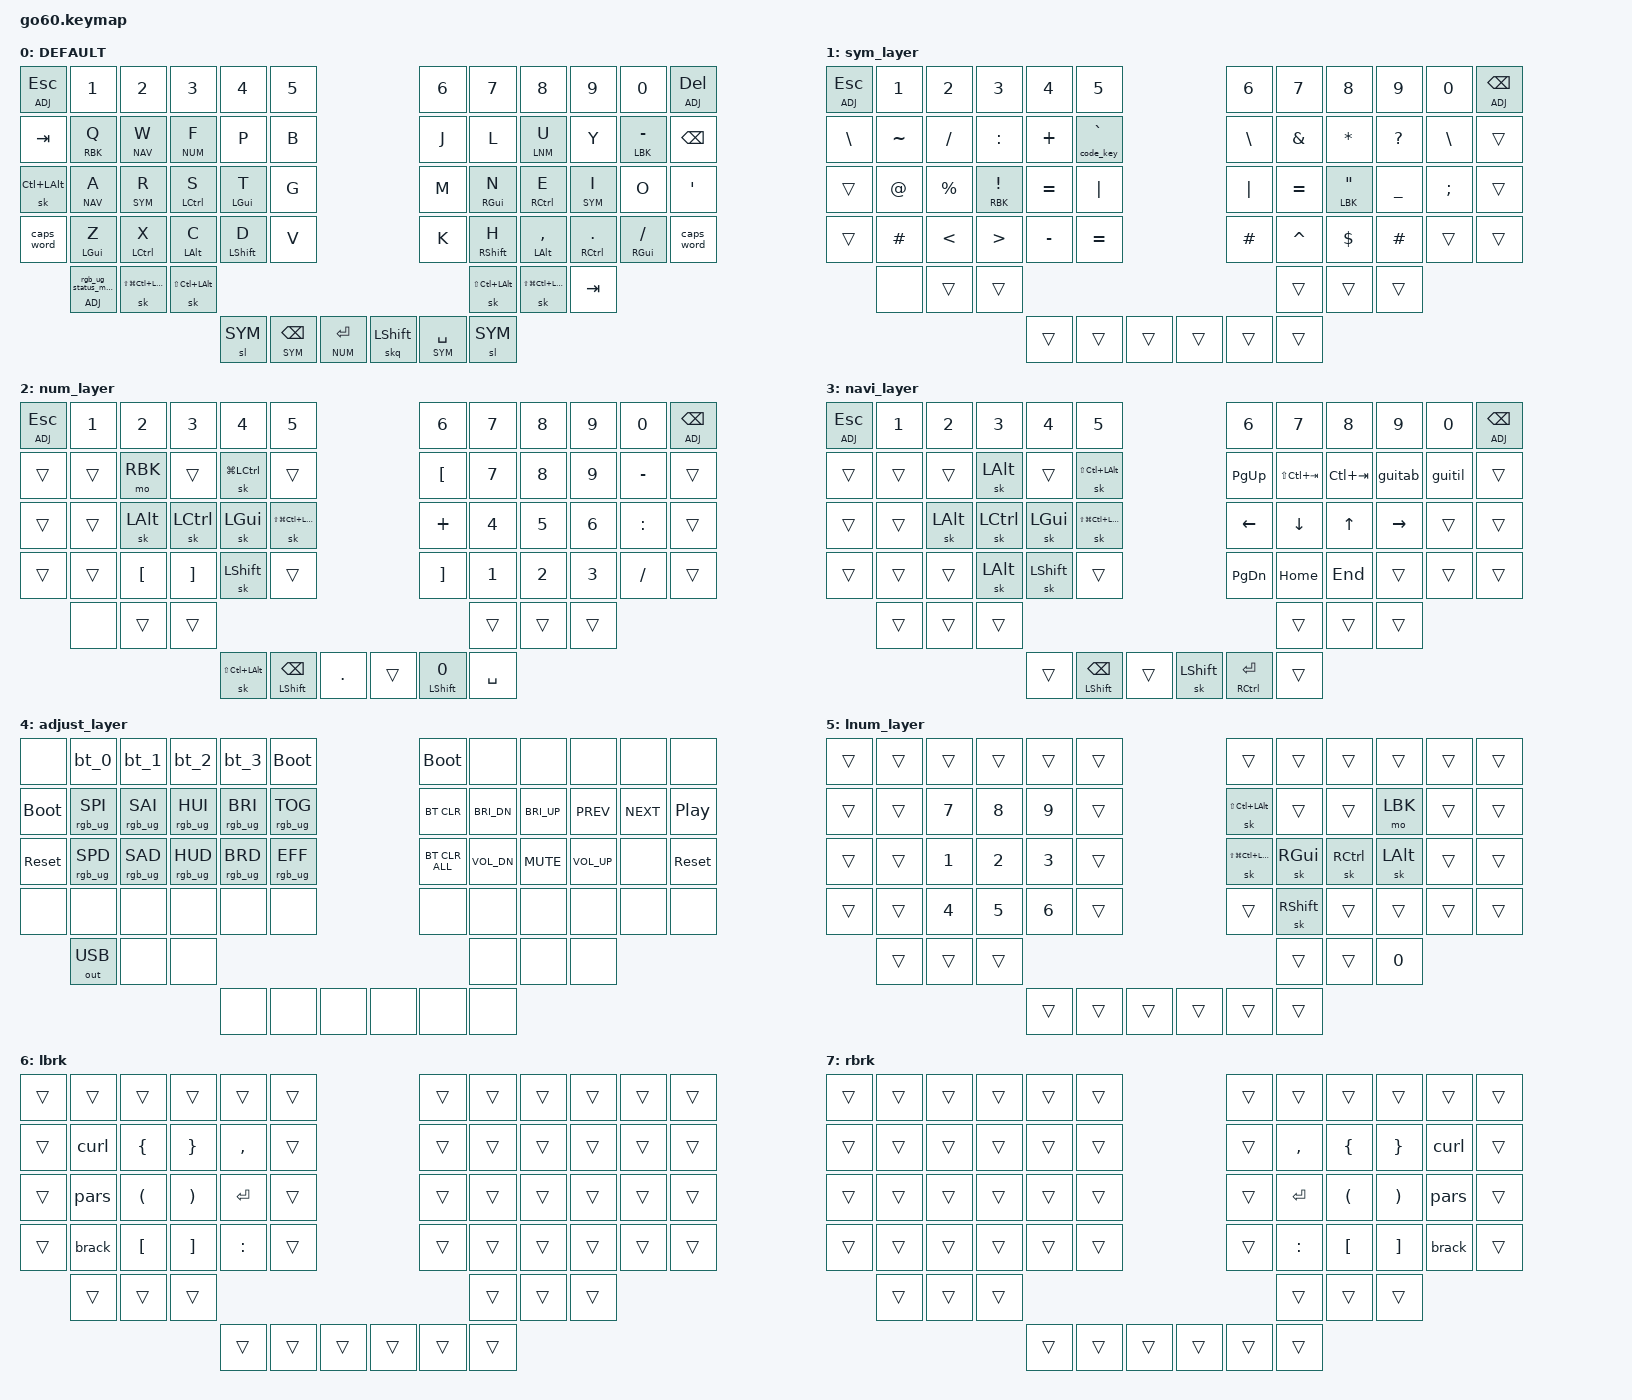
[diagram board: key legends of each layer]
/*
 * Copyright (c) 2020 The ZMK Contributors
 *
 * SPDX-License-Identifier: MIT
 */

#include <behaviors.dtsi>

#include <dt-bindings/zmk/bt.h>
#include <dt-bindings/zmk/ext_power.h>
#include <dt-bindings/zmk/keys.h>
#include <dt-bindings/zmk/outputs.h>
#include <dt-bindings/zmk/rgb.h>
#include <dt-bindings/zmk/input_transform.h>
#include <dt-bindings/zmk/pointing.h>

#include <input/processors.dtsi>
#include <zephyr/dt-bindings/input/input-event-codes.h>

// layers
#define DEFAULT 0
#define SYM 1
#define NUM 2
#define NAV 3
#define ADJ 4
#define LNM 5
#define LBK 6
#define RBK 7

&lt {
  tapping-term-ms = <175>;
  quick-tap-ms    = <150>; // hit within this time to trigger repeat
};

&sl {
  release-after-ms = <2000>;
};

&caps_word {
  continue-list = <UNDERSCORE MINUS>;
};
/ {
    input_processors {
        zip_click_to_right_click_mapper: zip_click_to_right_click_mapper {
            compatible = "zmk,input-processor-code-mapper";
            #input-processor-cells = <0>;
            type = <INPUT_EV_KEY>;
            map = <INPUT_BTN_0 INPUT_BTN_1>;
        };
    };

  combos {
    compatible = "zmk,combos";
    // -----------------------------------------------------------------------------------------
    // |  0  |  1  |  2  |  3  |  4  |  5  |                    |  6  |  7   |  8  |  9  |  10  | 11 |
    // |  12 |  Q  |  W  |  E  |  R  |  T  |                    |  18  |  U   |  I  |  O  |  P  | BKSP |
    // |  24 |  A  |  S  |  D  |  F  |  G  |                    |  30  |  J   |  K  |  L  |  ;  |  '   |
    // |  36 |  Z  |  X  |  C  |  V  |  B  |                    |  42  |  M   |  ,  |  .  |  /  | ESC  |
    //             48 | 49 | 50 | 51 | 52 | 53              54 | 55 | 56 | 57 | 58 | 59
    left_combo_esc {
      timeout-ms = <30>;
      key-positions = <26 27 28>;
      layers = <DEFAULT>;
      bindings = <&kp ESC>;
    };
    left_combo_lbrack {
      timeout-ms = <30>;
      key-positions = <26 27>;
      layers = <DEFAULT>;
      bindings = <&mo RBK>;
    };
    right_combo_esc {
      timeout-ms = <30>;
      key-positions = <31 32 33>;
      layers = <DEFAULT>;
      bindings = <&kp ESC>;
    };

    right_combo_rbracks {
      timeout-ms = <30>;
      key-positions = <32 33>;
      layers = <DEFAULT>;
      bindings = <&mo LBK>;
    };

    right_alt_bspc {
      timeout-ms = <30>;
      key-positions = <20 21>;
      layers = <DEFAULT>;
      bindings = <&kp LA(BSPC)>;
    };

    right_ctrl_bspc {
      timeout-ms = <30>;
      key-positions = <21 22>;
      layers = <DEFAULT>;
      bindings = <&kp LC(BSPC)>;
    };

    right_enter {
      timeout-ms = <20>;
      key-positions = <30 31>;
      layers = <DEFAULT>;
      bindings = <&kp RET>;
    };

    left_tab {
      timeout-ms = <30>;
      key-positions = <38 39>;
      layers = <DEFAULT>;
      bindings = <&mt LC(LALT) TAB>;
    };

    right_tab {
      timeout-ms = <30>;
      key-positions = <44 45>;
      layers = <DEFAULT>;
      bindings = <&mt LC(LALT) TAB>;
    };

    left_slash {
      timeout-ms = <35>;
      key-positions = <14 15>;
      layers = <DEFAULT>;
      bindings = <&kp FSLH>;
    };

    up_dir {
      timeout-ms = <40>;
      key-positions = <43 44 45>;
      layers = <DEFAULT>;
      bindings = <&updir>;
    };

    homedir {
      timeout-ms = <30>;
      layers = <SYM>;
      key-positions = <14 15>;
      bindings = <&homedir>;
    };
  };
    behaviors {
        magic: magic {
            compatible = "zmk,behavior-hold-tap";
            #binding-cells = <2>;
            flavor = "tap-preferred";
            tapping-term-ms = <200>;
            bindings = <&mo>, <&rgb_ug_status_macro>;
        };
       bt_0: bt_0 {
            compatible = "zmk,behavior-tap-dance";
            #binding-cells = <0>;
            tapping-term-ms = <200>;
            bindings = <&bt_select_0>, <&bt BT_DISC 0>;
        };
        bt_1: bt_1 {
            compatible = "zmk,behavior-tap-dance";
            #binding-cells = <0>;
            tapping-term-ms = <200>;
            bindings = <&bt_select_1>, <&bt BT_DISC 1>;
        };
        bt_2: bt_2 {
            compatible = "zmk,behavior-tap-dance";
            #binding-cells = <0>;
            tapping-term-ms = <200>;
            bindings = <&bt_select_2>, <&bt BT_DISC 2>;
        };
        bt_3: bt_3 {
            compatible = "zmk,behavior-tap-dance";
            #binding-cells = <0>;
            tapping-term-ms = <200>;
            bindings = <&bt_select_3>, <&bt BT_DISC 3>;
        };
        guitil: guitil {
            compatible = "zmk,behavior-tri-state";
            #binding-cells = <0>;
            bindings = <&kt LGUI>, <&kp TILDE>, <&kt LGUI>;
            ignored-key-positions = <54>;
        };
        guitab: guitab {
            compatible = "zmk,behavior-tri-state";
            #binding-cells = <0>;
            bindings = <&kt LGUI>, <&kp TAB>, <&kt LGUI>;
            ignored-key-positions = <54>;
        };
        code: codegrave {
            compatible = "zmk,behavior-hold-tap";
            #binding-cells = <2>;
            flavor = "tap-preferred";
            tapping-term-ms = <200>;
            bindings = <&code_key>, <&kp>;
        };
        hmlt: homerow_layer_left_tap {
            compatible = "zmk,behavior-hold-tap";
            #binding-cells = <2>;
            flavor = "balanced";
            require-prior-idle-ms = <110>;
            tapping-term-ms = <180>;
            quick-tap-ms = <150>;
            bindings = <&mo>, <&kp>;
            // include pretty much every key but the middle row
            hold-trigger-key-positions = <
              /*top row*/ 0 1 2 3 4 5 6 7 8 9 10 11
              /*2nd row*/ 12 13 14 15 16 17 18 19 20 21 22 23
              /* homerow 24 25 26 27 28 29 */ 30 31 32 33 34 35
              /*bottom*/ 36 37 38 39 40 41 42 43 44 45 46 47
              /* thumbs */ 48 49 50 51 52 53 54 55 /*56*/ 57 58 59
              /*thumbs except backspace   */ >;
            hold-trigger-on-release;
        };
        hml: homerow_mods_left {
            compatible = "zmk,behavior-hold-tap";
                #binding-cells = <2>;
                flavor = "balanced";
                require-prior-idle-ms = <100>;
                tapping-term-ms = <180>;
                quick-tap-ms = <150>;
                bindings = <&kp>, <&kp>;
                // include pretty much every key but the middle row
                hold-trigger-key-positions = <
                  /*top row*/ 0 1 2 3 4 5 6 7 8 9 10 11
                  /*2nd row*/ 12 13 14 15 16 17 18 19 20 21 22 23
                  /* homerow 24 25 26 27 28 29 */ 30 31 32 33 34 35
                  /*bottom*/ 36 37 38 39 40 41 42 43 44 45 46 47
                  /* thumbs */ 48 49 50 51 52 53 54 55  /*56*/ 57 58 59
                  /*thumbs except backspace   */ >;
                hold-trigger-on-release;
        };
        hmrt: homerow_mods_right_tap {
            compatible = "zmk,behavior-hold-tap";
                #binding-cells = <2>;
                flavor = "balanced";
                require-prior-idle-ms = <110>;
                tapping-term-ms = <180>;
                quick-tap-ms = <150>;
                bindings = <&mo>, <&kp>;
                // include pretty much every key but the middle row
                hold-trigger-key-positions = <
                  /*top row*/ 0 1 2 3 4 5 6 7 8 9 10 11
                  /*2nd row*/ 12 13 14 15 16 17 18 19 20 21 22 23
                  /* homerow 30 31 32 33 34 35 */ 24 25 26 27 28 29
                  /*bottom*/ 36 37 38 39 40 41 42 43 44 45 46 47
                  /* thumbs */ 48 49 50 51 52 53 54 55  /*56*/57 58 59
                  /*thumbs except backspace */ >;
                hold-trigger-on-release;
        };
        hmr: homerow_mods_right {
            compatible = "zmk,behavior-hold-tap";
                #binding-cells = <2>;
                flavor = "balanced";
                require-prior-idle-ms = <100>;
                tapping-term-ms = <180>;
                quick-tap-ms = <150>;
                bindings = <&kp>, <&kp>;
                // include pretty much every key but the middle row
                hold-trigger-key-positions = <
                  /*top row*/ 0 1 2 3 4 5 6 7 8 9 10 11
                  /*2nd row*/ 12 13 14 15 16 17 18 19 20 21 22 23
                  /* homerow 30 31 32 33 34 35 */ 24 25 26 27 28 29
                  /*bottom*/ 36 37 38 39 40 41 42 43 44 45 46 47
                  /* thumbs */ 48 49 50 51 52 53 54 55 /*56*/ 57 58 59
                  /*thumbs except backspace  */ >;
                hold-trigger-on-release;
        };
        // quick release sticky key so shift only applies to one key
        skq: sticky_key_quick_release {
            compatible = "zmk,behavior-sticky-key";
            #binding-cells = <1>;
            bindings = <&kp>;
            release-after-ms = <2000>;
            quick-release;
            ignore-modifiers;
        };
    };

    macros {
        rgb_ug_status_macro: rgb_ug_status_macro {
            compatible = "zmk,behavior-macro";
            #binding-cells = <0>;
            bindings = <&rgb_ug RGB_STATUS>;
        };

        bt_select_0: bt_select_0 {
            compatible = "zmk,behavior-macro";
            #binding-cells = <0>;
            bindings
                = <&out OUT_BLE>,
                  <&bt BT_SEL 0>;
        };
        bt_select_1: bt_select_1 {
            compatible = "zmk,behavior-macro";
            #binding-cells = <0>;
            bindings
                = <&out OUT_BLE>,
                  <&bt BT_SEL 1>;
        };
        bt_select_2: bt_select_2 {
            compatible = "zmk,behavior-macro";
            #binding-cells = <0>;
            bindings
                = <&out OUT_BLE>,
                  <&bt BT_SEL 2>;
        };
        bt_select_3: bt_select_3 {
            compatible = "zmk,behavior-macro";
            #binding-cells = <0>;
            bindings
                = <&out OUT_BLE>,
                  <&bt BT_SEL 3>;
        };
        ZMK_MACRO(code_key,
        bindings
            = <&kp GRAVE &kp GRAVE &kp GRAVE>;
        )
        ZMK_MACRO(updir,
        bindings
            = <&kp DOT &kp DOT &kp FSLH>;
        )
        ZMK_MACRO(homedir,
        bindings
            = <&kp TILDE &kp FSLH>;
        )

        ZMK_MACRO(pars,
        bindings
            = <&kp LPAR &kp RPAR &kp LEFT>;
        )

        ZMK_MACRO(brack,
        bindings
            = <&kp LBKT &kp RBKT &kp LEFT>;
        )

        ZMK_MACRO(curl,
        bindings
            = <&kp LBRC &kp RBRC &kp LEFT>;
        )
    };

    keymap {
        compatible = "zmk,keymap";
        DEFAULT {
            bindings = <
            &lt ADJ ESC  &kp N1      &kp N2       &kp N3       &kp N4        &kp N5                                 &kp N6 &kp N7       &kp N8          &kp N9        &kp N0           &lt ADJ DEL
            &kp TAB      &hmlt RBK Q &hmlt NAV W  &hmlt NUM F  &kp  P        &kp B            /**/                  &kp J  &kp  L       &hmrt LNM U     &kp Y         &hmlt LBK MINUS  &kp BSPC
            &sk LC(LALT) &hmlt NAV A &hmlt SYM R  &hml LCTRL S &hml LGUI T   &kp G            /**/                  &kp M  &hmr RGUI N  &hmr RCTRL E    &hmrt SYM I   &kp O    &kp SQT
            &caps_word   &hml LGUI Z &hml LCTRL X &hml LALT C  &hml LSHFT D  &kp V            /**/                  &kp K  &hmr RSHFT H &hmr LALT COMMA &hmr RCTRL DOT &hmr RGUI FSLH  &caps_word
                               &magic ADJ 0 &sk LS(LG(LC(LALT))) &sk LS(LC(LALT))                                     &sk LS(LC(LALT)) &sk LS(LG(LC(LALT))) &kp TAB
                                                              &sl SYM &lt SYM BSPC &lt NUM RET      &skq LSHFT &lt SYM SPC &sl SYM
            >;
        };

        sym_layer {
            bindings = <
            &lt ADJ ESC  &kp N1 &kp N2       &kp N3       &kp N4        &kp N5                                 &kp N6    &kp N7     &kp N8    &kp N9    &kp N0   &lt ADJ BSPC
            &kp BSLH  &kp TILDE &kp FSLH     &kp COLON    &kp PLUS  &code 0 GRAVE                              &kp BSLH &kp AMPS  &kp STAR    &kp QMARK &kp BSLH &trans
            &trans    &kp AT    &kp PRCNT    &lt RBK EXCL &kp EQUAL &kp PIPE                                   &kp PIPE &kp EQUAL &lt LBK DQT &kp UNDER &kp SEMI &trans
            &trans    &kp HASH  &kp LT       &kp GT       &kp MINUS &kp EQUAL                                  &kp HASH &kp CARET &kp DLLR    &kp HASH     &trans &trans
                            &none     &trans     &trans                                                                        &trans  &trans      &trans
                                                          &trans  &trans  &trans              &trans  &trans  &trans
            >;
        };

        num_layer {
            bindings = <
            &lt ADJ ESC &kp N1   &kp N2        &kp N3    &kp N4        &kp N5                                     &kp N6   &kp N7   &kp N8 &kp N9 &kp N0    &lt ADJ BSPC
            &trans      &trans   &mo RBK       &trans    &sk LG(LCTRL) &trans                                     &kp LBKT &kp N7   &kp N8 &kp N9 &kp MINUS &trans
            &trans      &trans   &sk LALT      &sk LCTRL &sk LGUI  &sk LS(LG(LC(LALT)))                           &kp PLUS &kp N4   &kp N5 &kp N6 &kp COLON &trans
            &trans      &trans   &kp LBKT      &kp RBKT  &sk LSHFT &trans                                         &kp RBKT &kp N1   &kp N2 &kp N3 &kp FSLH  &trans
                            &none     &trans     &trans                                                                        &trans  &trans      &trans
                                           &sk LS(LC(LALT)) &hml LSHFT BSPC &kp DOT          &trans &hmr LSHFT N0 &kp SPC
            >;
        };

        navi_layer {
            bindings = <
            &lt ADJ ESC  &kp N1   &kp N2    &kp N3    &kp N4    &kp N5                                &kp N6     &kp N7          &kp N8    &kp N9    &kp N0           &lt ADJ BSPC
              &trans     &trans   &trans    &sk LALT  &trans    &sk LS(LC(LALT))                      &kp PG_UP  &kp LS(LC(TAB)) &kp LC(TAB) &guitab   &guitil &trans
              &trans     &trans   &sk LALT  &sk LCTRL &sk LGUI  &sk LS(LG(LC(LALT)))                  &kp LEFT   &kp DOWN        &kp UP      &kp RIGHT &trans &trans
              &trans     &trans   &trans    &sk LALT  &sk LSHFT  &trans                               &kp PG_DN  &kp HOME        &kp END     &trans    &trans &trans
                                &trans &trans &trans                                                             &trans &trans &trans
                                                &trans &hml LSHFT BSPC &trans               &sk LSHFT &hmr RCTRL RET &trans
            >;
        };

        adjust_layer {
            bindings = <
            &none       &bt_0            &bt_1            &bt_2            &bt_3     &bootloader                                     &bootloader       &none         &none   &none  &none     &none
            &bootloader &rgb_ug RGB_SPI  &rgb_ug RGB_SAI  &rgb_ug RGB_HUI  &rgb_ug RGB_BRI  &rgb_ug RGB_TOG                                     &bt BT_CLR     &kp C_BRI_DN  &kp C_BRI_UP   &kp C_PREV    &kp C_NEXT   &kp C_PP
            &sys_reset  &rgb_ug RGB_SPD  &rgb_ug RGB_SAD  &rgb_ug RGB_HUD  &rgb_ug RGB_BRD  &rgb_ug RGB_EFF                                     &bt BT_CLR_ALL &kp C_VOL_DN  &kp C_MUTE   &kp C_VOL_UP   &none  &sys_reset
                &none            &none            &none            &none            &none            &none                                     &none       &none         &none   &none  &none     &none
                                  &out OUT_USB            &none            &none                                                                    &none         &none   &none
                                                                                            &none   &none   &none     &none   &none   &none
            >;
        };
        lnum_layer {
            bindings = <
            &trans    &trans  &trans  &trans  &trans     &trans                                  &trans    &trans    &trans    &trans  &trans     &trans
            &trans  &trans   &kp N7       &kp N8    &kp N9    &trans                   &sk LS(LC(LALT))    &trans    &trans    &mo LBK &trans     &trans
            &trans  &trans   &kp N1       &kp N2    &kp N3    &trans               &sk LS(LG(LC(LALT)))    &sk RGUI  &sk RCTRL &sk LALT  &trans     &trans
            &trans  &trans   &kp N4       &kp N5    &kp N6    &trans                             &trans    &sk RSHFT &trans    &trans  &trans     &trans
                        &trans &trans &trans &trans &trans &kp N0                                 &trans   &trans    &trans    &trans  &trans &trans
            >;
        };
        lbrk {
            bindings = <
            &trans  &trans  &trans    &trans  &trans   &trans                                  &trans  &trans  &trans  &trans  &trans  &trans
            &trans  &curl   &kp LBRC  &kp RBRC &kp COMMA  &trans                                  &trans  &trans  &trans  &trans  &trans  &trans
            &trans  &pars   &kp LPAR  &kp RPAR &kp RET    &trans                                  &trans  &trans  &trans  &trans  &trans  &trans
            &trans  &brack  &kp LBKT  &kp RBKT &kp COLON  &trans                                  &trans  &trans  &trans  &trans  &trans  &trans
                            &trans &trans &trans &trans &trans &trans                  &trans &trans &trans &trans &trans &trans
            >;
        };
        rbrk {
            bindings = <
            &trans  &trans  &trans  &trans  &trans &trans                                  &trans  &trans  &trans    &trans    &trans  &trans
            &trans  &trans  &trans  &trans &trans  &trans                                  &trans  &kp COMMA &kp LBRC  &kp RBRC  &curl  &trans
            &trans  &trans  &trans  &trans &trans  &trans                                  &trans  &kp RET   &kp LPAR  &kp RPAR  &pars  &trans
            &trans  &trans  &trans  &trans &trans  &trans                                  &trans  &kp COLON &kp LBKT  &kp RBKT  &brack  &trans
                            &trans &trans &trans &trans &trans &trans                &trans &trans &trans &trans &trans &trans
            >;
        };
    };
};

&cirque_rh_listener {
    input-processors = <&zip_xy_scaler 2 1>;
    layer_3 {
        layers = <3>;
        input-processors = <&zip_xy_scaler 3 1>;
    };
};

&cirque_lh_listener {
    input-processors = <&zip_xy_to_scroll_mapper>,  <&zip_scroll_scaler 1 8>, <&zip_click_to_right_click_mapper>;
    layer_3 {
        layers = <3>;
        input-processors = <&zip_scroll_scaler 1 4>;
    };
};
